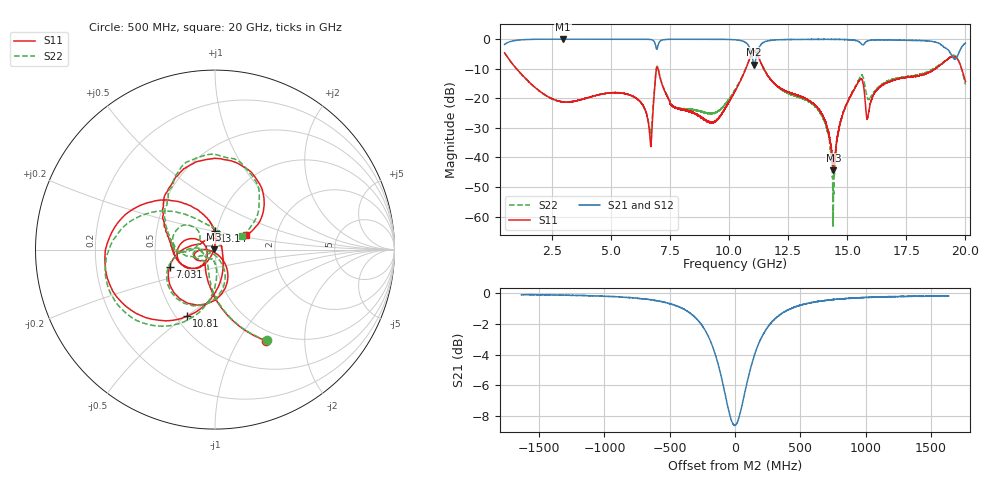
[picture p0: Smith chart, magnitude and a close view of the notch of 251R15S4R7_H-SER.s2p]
!{251R15S4R7}
!Johanson Technology Inc.
!www.johansontechnology.com
!Test Board Conditions:
!Substrate Type  RO4350B
!Substrate Thickness  20 mil
!Substrate Dk  3.66
!TL Type: GCPW
!TL Trace Width  34 mil
!TL Gap  10 mil
!Electrode orientation  Horizontal
!DUT TOPOLOGY	SERIES
!Mounting Pad LxW  26x52 mil
! Created Thu Mar 12 16:42:04 2020
# mhz S ma R 50
! 2 Port Network Data from SP1.SP block
! freq  magS11  angS11  magS21  angS21  magS12  angS12  magS22  angS22
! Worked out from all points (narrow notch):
!   19501 points, 500 MHz to 20 GHz, reference 50 ohm
!   highest |S21| = -0.04 dB at 2.971 GHz (marker M1); lowest = -8.6 dB at 11.06 GHz (marker M2)
!   notch at M2: 8.5 dB deep, 273 MHz wide at half that depth
!   lowest |S11| = -44.3 dB at 14.41 GHz (marker M3), VSWR 1.01, Z = 49.4 + j0.237 ohm
!   |S11| at or under -10 dB: 996.2 MHz to 6.928 GHz (5.932 GHz wide, 150 % of centre); 6.991 GHz to 10.71 GHz (3.72 GHz wide, 42 % of centre); 11.46 GHz to 18.73 GHz (7.275 GHz wide, 48.2 % of centre)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
!   |S22| runs from -63.7 to -4.0 dB; largest |S21 - S12| = 0.017
!   S11 on the Smith chart (normalised r, x): 500 MHz: 0.86, -1.32; 7.031 GHz: 0.59, -0.12; 10.81 GHz: 0.57, -0.50; 13.14 GHz: 0.97, +0.20; 20 GHz: 1.40, +0.23
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500  0.5829 -60.6  0.8079 29.3  0.809 29.2  0.5814 -60.4
2971  0.08657 -131.6  0.9954 -37.6  0.9938 -37.6  0.0869 -122.9
3750  0.09494 -139.4  0.9913 -50.7  0.992 -50.7  0.09497 -141.1
5919  0.108 -171.7  0.9884 -85.8  0.9895 -85.8  0.1075 -177.7
6663  0.01842 -149.5  0.9798 -101.1  0.9803 -101.1  0.02701 -135.3
7000  0.3068 -147.6  0.7948 -90.8  0.7952 -90.7  0.3136 -149.0
7031  0.2702 -159.4  0.8608 -91.7  0.8619 -91.6  0.2771 -159.7
7598  0.07434 137.8  0.989 -108.6  0.9896 -108.7  0.07339 -170.0
9158  0.0398 23.2  0.9905 -136.2  0.9915 -136.2  0.05518 -116.3
10250  0.1314 -71.1  0.9677 -158.8  0.9685 -158.8  0.14 -85.7
10815  0.4036 -113.0  0.7815 177.9  0.7853 178.1  0.4139 -110.4
11065  0.6194 -168.0  0.3706 -161.8  0.3747 -161.8  0.6318 -159.5
13139  0.1024 91.5  0.9816 169.3  0.9798 169.3  0.09819 69.3
13500  0.08393 88.0  0.9846 162.9  0.9815 163.1  0.08056 59.3
14120  0.03596 87.2  0.9861 152.2  0.9848 152.1  0.03257 43.8
14414  0.00609 156.8  0.985 146.7  0.985 146.9  0.001724 -96.2
14750  0.04469 -120.8  0.9802 140.6  0.982 140.6  0.04399 -149.4
15519  0.2035 -154.9  0.8825 123.4  0.8882 123.6  0.2175 178.5
15868  0.04831 -154.2  0.9283 128.2  0.929 128.3  0.09873 148.7
16750  0.1894 -149.8  0.9657 108.6  0.9614 108.2  0.1984 -175.2
19493  0.5076 88.4  0.4766 59.1  0.4816 60.6  0.532 92.0
20000  0.1921 24.7  0.8474 76.2  0.8472 76.2  0.1697 26.9
